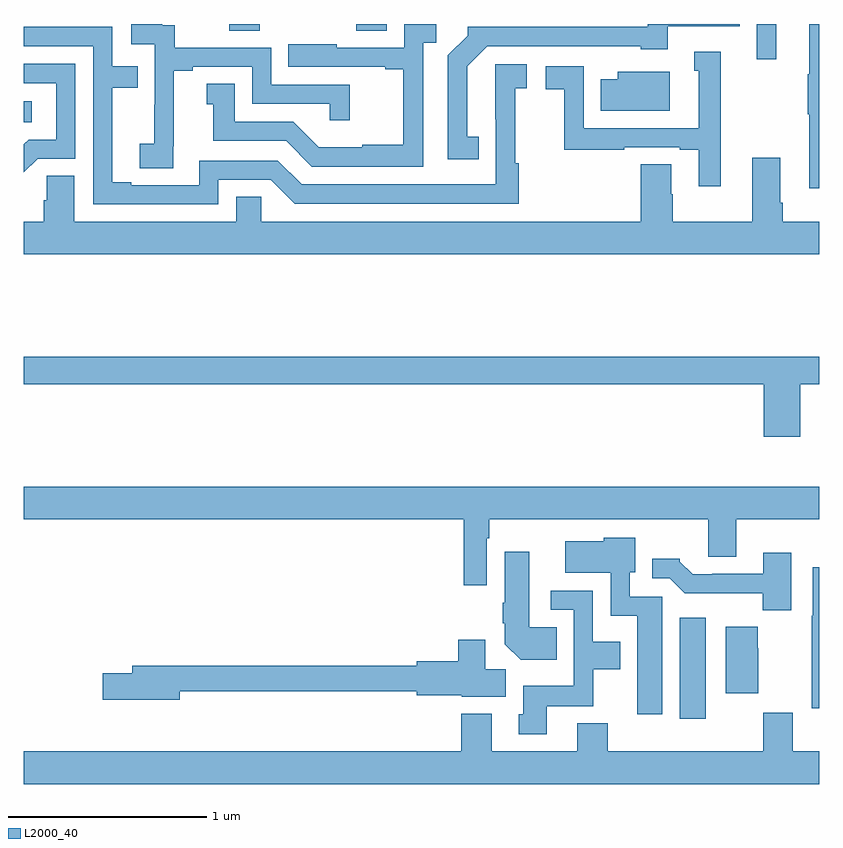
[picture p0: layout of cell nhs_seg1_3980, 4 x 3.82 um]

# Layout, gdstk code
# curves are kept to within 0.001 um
import gdstk
lib = gdstk.Library(unit=1e-6, precision=1e-09)
def R(c, l, rs):  # rectangles x0, y0, x1, y1
    for r in rs: c.add(gdstk.rectangle(r[:2], r[2:], *l))
def P(c, l, *ps):  # polygons
    for p in ps: c.add(gdstk.Polygon(p, *l))
L2000_40 = (2000, 40)

nhs_seg1_3980 = lib.new_cell('nhs_seg1_3980')
R(nhs_seg1_3980, L2000_40, [(330.299,574.704,330.43,575.212), (327,577.706,327.04,577.81), (330.687,578.022,330.784,578.199), (328.034,578.164,328.187,578.199), (328.673,578.164,328.825,578.199)])
P(nhs_seg1_3980, L2000_40, [(329.01,578.105),(329.075,578.105),(329.075,578.199),(328.914,578.199),(328.914,578.079),(328.573,578.079),(328.573,578.098),(328.33,578.098),(328.33,577.983),(328.817,577.983),(328.817,577.971),(328.909,577.971),(328.909,577.591),(328.703,577.591),(328.703,577.579),(328.484,577.579),(328.356,577.707),(328.06,577.707),(328.06,577.898),(327.92,577.898),(327.92,577.795),(327.953,577.795),(327.953,577.611),(328.32,577.611),(328.449,577.482),(329.01,577.482)],
  [(327.752,577.585),(327.754,577.585),(327.754,577.963),(327.85,577.963),(327.85,577.983),(328.149,577.983),(328.149,577.797),(328.539,577.797),(328.539,577.716),(328.64,577.716),(328.64,577.893),(328.245,577.893),(328.245,578.079),(327.758,578.079),(327.758,578.193),(327.696,578.193),(327.696,578.199),(327.54,578.199),(327.54,578.097),(327.657,578.097),(327.657,577.793),(327.656,577.793),(327.656,577.596),(327.582,577.596),(327.582,577.474),(327.752,577.474)],
  [(329.288,577.631),(329.23,577.631),(329.23,577.987),(329.331,578.088),(330.102,578.088),(330.102,578.072),(330.238,578.072),(330.238,578.187),(330.602,578.187),(330.602,578.199),(330.139,578.199),(330.139,578.184),(329.666,578.184),(329.666,578.186),(329.232,578.186),(329.232,578.141),(329.133,578.042),(329.133,577.518),(329.288,577.518)],
  [(331,578.199),(330.95,578.199),(330.95,577.945),(330.943,577.945),(330.943,577.745),(330.95,577.745),(330.95,577.374),(331,577.374)],
  [(327.978,577.416),(328.242,577.416),(328.362,577.296),(329.489,577.296),(329.489,577.499),(329.472,577.499),(329.472,577.875),(329.53,577.875),(329.53,577.996),(329.372,577.996),(329.373,577.392),(328.398,577.392),(328.278,577.512),(327.882,577.512),(327.882,577.389),(327.541,577.389),(327.541,577.404),(327.445,577.404),(327.445,577.878),(327.572,577.878),(327.572,577.986),(327.444,577.986),(327.444,578.184),(327,578.184),(327,578.088),(327.348,578.088),(327.348,577.293),(327.978,577.293)],
  [(330.505,578.059),(330.371,578.059),(330.371,577.965),(330.395,577.965),(330.395,577.674),(329.817,577.674),(329.817,577.986),(329.625,577.986),(329.625,577.87),(329.719,577.87),(329.719,577.566),(330.02,577.566),(330.02,577.578),(330.299,577.578),(330.299,577.566),(330.395,577.566),(330.395,577.383),(330.505,577.383)],
  [(327.069,577.521),(327.258,577.521),(327.258,577.998),(327,577.998),(327,577.902),(327.162,577.902),(327.162,577.617),(327.024,577.617),(327,577.593),(327,577.453)],
  [(330.25,577.96),(329.987,577.96),(329.987,577.921),(329.902,577.921),(329.902,577.763),(330.25,577.763)],
  [(331,577.204),(330.818,577.204),(330.818,577.3),(330.805,577.3),(330.805,577.525),(330.665,577.525),(330.665,577.204),(330.264,577.204),(330.264,577.343),(330.256,577.343),(330.256,577.493),(330.104,577.493),(330.104,577.204),(328.194,577.204),(328.194,577.331),(328.067,577.331),(328.067,577.204),(327.253,577.204),(327.253,577.436),(327.114,577.436),(327.114,577.313),(327.101,577.313),(327.101,577.204),(327,577.204),(327,577.04),(331,577.04)],
  [(330.905,576.388),(331,576.388),(331,576.524),(327,576.524),(327,576.388),(330.722,576.388),(330.722,576.123),(330.905,576.123)],
  [(329.328,575.612),(329.341,575.612),(329.341,575.708),(330.443,575.708),(330.443,575.518),(330.583,575.518),(330.583,575.708),(331,575.708),(331,575.872),(327,575.872),(327,575.708),(329.212,575.708),(329.212,575.376),(329.328,575.376)],
  [(330.211,575.319),(330.048,575.319),(330.048,575.442),(330.076,575.442),(330.076,575.614),(329.916,575.614),(329.916,575.596),(329.724,575.596),(329.724,575.438),(329.952,575.438),(329.952,575.222),(330.086,575.222),(330.086,574.728),(330.211,574.728)],
  [(329.681,575.164),(329.542,575.164),(329.542,575.545),(329.42,575.545),(329.42,575.288),(329.408,575.288),(329.408,575.185),(329.42,575.185),(329.42,575.078),(329.498,575),(329.681,575)],
  [(330.859,575.539),(330.719,575.539),(330.719,575.433),(330.463,575.433),(330.463,575.43),(330.364,575.43),(330.3,575.494),(330.3,575.509),(330.161,575.509),(330.161,575.412),(330.249,575.412),(330.325,575.336),(330.717,575.336),(330.717,575.249),(330.859,575.249)],
  [(331,575.467),(330.969,575.467),(330.969,575.222),(330.964,575.222),(330.964,574.757),(331,574.757)],
  [(329.629,574.766),(329.865,574.766),(329.865,574.952),(330.001,574.952),(330.001,575.092),(329.862,575.092),(329.862,575.349),(329.649,575.349),(329.649,575.253),(329.766,575.253),(329.766,574.87),(329.513,574.87),(329.513,574.728),(329.489,574.728),(329.489,574.626),(329.629,574.626)],
  [(330.694,575.06),(330.692,575.06),(330.692,575.167),(330.53,575.167),(330.53,574.833),(330.694,574.833)],
  [(327.784,574.842),(328.976,574.842),(328.976,574.823),(329.202,574.823),(329.202,574.814),(329.425,574.814),(329.425,574.952),(329.32,574.952),(329.32,575.101),(329.186,575.101),(329.186,574.994),(328.976,574.994),(328.976,574.97),(327.545,574.97),(327.545,574.934),(327.396,574.934),(327.396,574.799),(327.784,574.799)],
  [(331,574.54),(330.867,574.54),(330.867,574.735),(330.719,574.735),(330.719,574.54),(329.936,574.54),(329.936,574.681),(329.783,574.681),(329.783,574.54),(329.353,574.54),(329.353,574.729),(329.201,574.729),(329.201,574.54),(327,574.54),(327,574.376),(331,574.376)])

lib.write_gds('nhs_seg1_3980.gds')
